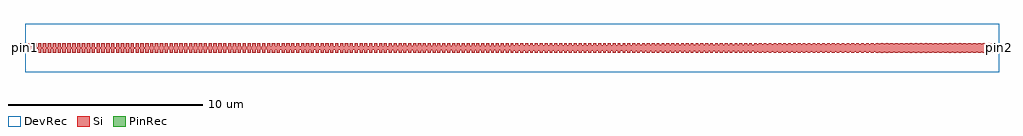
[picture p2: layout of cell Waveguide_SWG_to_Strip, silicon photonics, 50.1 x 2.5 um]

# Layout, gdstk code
import gdstk
lib = gdstk.Library(unit=1e-6, precision=1e-09)
def R(c, l, rs):  # rectangles x0, y0, x1, y1
    for r in rs: c.add(gdstk.rectangle(r[:2], r[2:], *l))
def A(c, l, x, y, w, h, nx, ny, dx, dy):  # array of equal rectangles
    R(c, l, [(x+i*dx, y+j*dy, x+i*dx+w, y+j*dy+h) for i in range(nx) for j in range(ny)])
def P(c, l, *ps):  # polygons
    for p in ps: c.add(gdstk.Polygon(p, *l))
Si = (1, 0)
PinRec = (1, 10)
DevRec = (68, 0)

waveguide_swg_to_strip = lib.new_cell('Waveguide_SWG_to_Strip')
A(waveguide_swg_to_strip, Si, 0.412, -0.25, 0.174, 0.5, 4, 1, 0.25, 0)
A(waveguide_swg_to_strip, Si, 3.412, -0.25, 0.171, 0.5, 4, 1, 0.25, 0)
A(waveguide_swg_to_strip, Si, 4.412, -0.25, 0.17, 0.5, 4, 1, 0.25, 0)
A(waveguide_swg_to_strip, Si, 5.412, -0.25, 0.169, 0.5, 4, 1, 0.25, 0)
A(waveguide_swg_to_strip, Si, 6.412, -0.25, 0.168, 0.5, 4, 1, 0.25, 0)
A(waveguide_swg_to_strip, Si, 7.412, -0.25, 0.167, 0.5, 3, 1, 0.25, 0)
A(waveguide_swg_to_strip, Si, 8.412, -0.25, 0.166, 0.5, 3, 1, 0.25, 0)
A(waveguide_swg_to_strip, Si, 9.662, -0.25, 0.165, 0.5, 3, 1, 0.25, 0)
A(waveguide_swg_to_strip, Si, 10.412, -0.25, 0.164, 0.5, 4, 1, 0.25, 0)
A(waveguide_swg_to_strip, Si, 11.412, -0.25, 0.163, 0.5, 4, 1, 0.25, 0)
A(waveguide_swg_to_strip, Si, 12.412, -0.25, 0.162, 0.5, 4, 1, 0.25, 0)
A(waveguide_swg_to_strip, Si, 13.412, -0.25, 0.161, 0.5, 4, 1, 0.25, 0)
A(waveguide_swg_to_strip, Si, 14.412, -0.25, 0.16, 0.5, 4, 1, 0.25, 0)
A(waveguide_swg_to_strip, Si, 17.412, -0.25, 0.157, 0.5, 4, 1, 0.25, 0)
A(waveguide_swg_to_strip, Si, 18.412, -0.25, 0.156, 0.5, 4, 1, 0.25, 0)
A(waveguide_swg_to_strip, Si, 19.412, -0.25, 0.155, 0.5, 4, 1, 0.25, 0)
A(waveguide_swg_to_strip, Si, 20.412, -0.25, 0.154, 0.5, 4, 1, 0.25, 0)
A(waveguide_swg_to_strip, Si, 21.412, -0.25, 0.153, 0.5, 3, 1, 0.25, 0)
A(waveguide_swg_to_strip, Si, 22.412, -0.25, 0.152, 0.5, 4, 1, 0.25, 0)
A(waveguide_swg_to_strip, Si, 23.662, -0.25, 0.151, 0.5, 3, 1, 0.25, 0)
A(waveguide_swg_to_strip, Si, 24.412, -0.25, 0.15, 0.5, 4, 1, 0.25, 0)
A(waveguide_swg_to_strip, Si, 25.412, -0.25, 0.149, 0.5, 3, 1, 0.25, 0)
A(waveguide_swg_to_strip, Si, 26.412, -0.25, 0.148, 0.5, 4, 1, 0.25, 0)
A(waveguide_swg_to_strip, Si, 27.662, -0.25, 0.147, 0.5, 3, 1, 0.25, 0)
A(waveguide_swg_to_strip, Si, 28.412, -0.25, 0.146, 0.5, 4, 1, 0.25, 0)
A(waveguide_swg_to_strip, Si, 29.412, -0.25, 0.145, 0.5, 4, 1, 0.25, 0)
A(waveguide_swg_to_strip, Si, 30.412, -0.25, 0.144, 0.5, 4, 1, 0.25, 0)
A(waveguide_swg_to_strip, Si, 31.412, -0.25, 0.143, 0.5, 4, 1, 0.25, 0)
A(waveguide_swg_to_strip, Si, 34.412, -0.25, 0.14, 0.5, 4, 1, 0.25, 0)
A(waveguide_swg_to_strip, Si, 35.412, -0.25, 0.139, 0.5, 4, 1, 0.25, 0)
A(waveguide_swg_to_strip, Si, 36.412, -0.25, 0.138, 0.5, 4, 1, 0.25, 0)
A(waveguide_swg_to_strip, Si, 37.412, -0.25, 0.137, 0.5, 4, 1, 0.25, 0)
A(waveguide_swg_to_strip, Si, 38.412, -0.25, 0.136, 0.5, 4, 1, 0.25, 0)
A(waveguide_swg_to_strip, Si, 39.412, -0.25, 0.135, 0.5, 3, 1, 0.25, 0)
A(waveguide_swg_to_strip, Si, 40.662, -0.25, 0.134, 0.5, 3, 1, 0.25, 0)
A(waveguide_swg_to_strip, Si, 41.662, -0.25, 0.133, 0.5, 3, 1, 0.25, 0)
A(waveguide_swg_to_strip, Si, 42.412, -0.25, 0.132, 0.5, 4, 1, 0.25, 0)
A(waveguide_swg_to_strip, Si, 43.412, -0.25, 0.131, 0.5, 4, 1, 0.25, 0)
A(waveguide_swg_to_strip, Si, 44.412, -0.25, 0.13, 0.5, 4, 1, 0.25, 0)
A(waveguide_swg_to_strip, Si, 45.412, -0.25, 0.129, 0.5, 4, 1, 0.25, 0)
A(waveguide_swg_to_strip, Si, 48.412, -0.25, 0.126, 0.5, 4, 1, 0.25, 0)
R(waveguide_swg_to_strip, Si, [(-0.087,-0.25,0.087,0.25), (0.162,-0.25,0.337,0.25), (1.412,-0.25,1.585,0.25), (1.912,-0.25,2.085,0.25), (2.162,-0.25,2.335,0.25), (2.412,-0.25,2.584,0.25), (3.162,-0.25,3.334,0.25), (15.412,-0.25,15.571,0.25), (15.912,-0.25,16.071,0.25), (16.162,-0.25,16.321,0.25), (16.412,-0.25,16.57,0.25), (16.662,-0.25,16.82,0.25), (17.162,-0.25,17.32,0.25), (32.412,-0.25,32.554,0.25), (32.912,-0.25,33.054,0.25), (33.162,-0.25,33.304,0.25), (33.412,-0.25,33.553,0.25), (33.662,-0.25,33.803,0.25), (34.162,-0.25,34.303,0.25), (46.412,-0.25,46.54,0.25), (47.162,-0.25,47.29,0.25), (47.412,-0.25,47.539,0.25), (47.662,-0.25,47.789,0.25), (48.162,-0.25,48.289,0.25), (49.412,-0.25,49.537,0.25), (1.662,-0.249,1.835,0.249), (2.662,-0.249,2.834,0.249), (2.912,-0.249,3.084,0.249), (8.162,-0.249,8.329,0.249), (9.162,-0.249,9.328,0.249), (9.412,-0.249,9.577,0.249), (15.662,-0.249,15.821,0.249), (16.912,-0.249,17.07,0.249), (22.162,-0.249,22.315,0.249), (23.412,-0.249,23.563,0.249), (26.162,-0.249,26.311,0.249), (27.412,-0.249,27.559,0.249), (32.662,-0.249,32.804,0.249), (33.912,-0.249,34.053,0.249), (40.162,-0.249,40.297,0.249), (40.412,-0.249,40.546,0.249), (41.412,-0.249,41.545,0.249), (46.662,-0.249,46.79,0.249), (46.912,-0.249,47.04,0.249), (47.912,-0.249,48.039,0.249)])
P(waveguide_swg_to_strip, Si, [(50,-0.25),(0,-0.03),(0,0.03),(50,0.25)])
R(waveguide_swg_to_strip, DevRec, [(0,-1.25,50,1.25)])
waveguide_swg_to_strip.add(gdstk.FlexPath([(0.01,0),(-0.01,0)], 0.5, ends="flush", simple_path=True, layer=1, datatype=10))  # PinRec
waveguide_swg_to_strip.add(gdstk.FlexPath([(49.99,0),(50.01,0)], 0.5, ends="flush", simple_path=True, layer=1, datatype=10))  # PinRec
waveguide_swg_to_strip.add(gdstk.Label('pin1', (0,0), layer=1, texttype=10))
waveguide_swg_to_strip.add(gdstk.Label('pin2', (50,0), layer=1, texttype=10))

lib.write_gds('Waveguide_SWG_to_Strip.gds')
